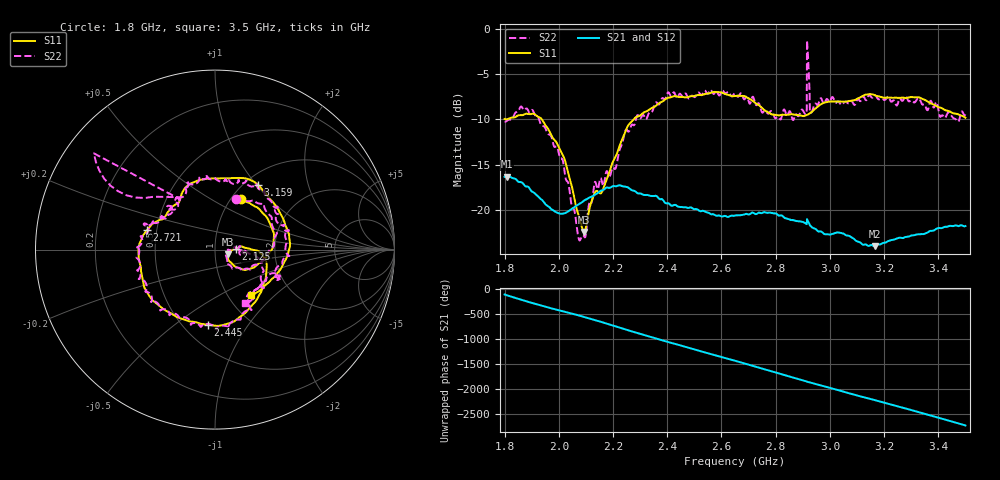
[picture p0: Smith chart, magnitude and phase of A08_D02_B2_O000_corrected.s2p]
! Created with skrf 1.9.0 (http://scikit-rf.org).
# Hz S RI R 50.0
!freq ReS11 ImS11 ReS21 ImS21 ReS12 ImS12 ReS22 ImS22
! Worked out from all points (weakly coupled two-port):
!   1601 points, 1.8 GHz to 3.5 GHz, reference 50 ohm
!   highest |S21| = -16.29 dB at 1.81 GHz (marker M1); lowest = -24.0 dB at 3.165 GHz (marker M2)
!   lowest |S11| = -22.4 dB at 2.092 GHz (marker M3), VSWR 1.16, Z = 57.6 - j2.95 ohm
!   |S11| at or under -10 dB: 1.938 GHz to 2.276 GHz (338 MHz wide, 16 % of centre)
!   |S22| runs from -23.3 to -1.3 dB; largest |S21 - S12| = 0.0026
!   S11 on the Smith chart (normalised r, x): 1.8 GHz: 1.11, +0.70; 2.125 GHz: 1.26, +0.01; 2.445 GHz: 0.66, -0.67; 2.721 GHz: 0.44, +0.11; 3.159 GHz: 1.14, +1.02; 3.5 GHz: 1.27, -0.72
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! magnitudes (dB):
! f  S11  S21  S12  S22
! 1.8 GHz  -9.9  -16.3  -16.3  -10.3
! 1.81 GHz  -10.0  -16.3  -16.3  -10.1
! 1.901 GHz  -9.4  -17.9  -17.9  -8.9
! 1.968 GHz  -11.4  -19.8  -19.8  -11.7
! 2.021 GHz  -14.4  -20.3  -20.3  -15.7
! 2.084 GHz  -21.7  -19.2  -19.1  -23.0
! 2.092 GHz  -22.4  -19.0  -19.0  -22.8
! 2.125 GHz  -18.7  -18.5  -18.4  -18.4
! 2.208 GHz  -14.2  -17.4  -17.3  -15.5
! 2.258 GHz  -10.6  -17.5  -17.5  -11.3
! 2.367 GHz  -8.3  -18.6  -18.6  -8.3
! 2.445 GHz  -7.5  -19.6  -19.6  -7.2
! 2.65 GHz  -7.4  -20.6  -20.6  -7.1
! 2.721 GHz  -8.1  -20.4  -20.3  -7.9
! 2.868 GHz  -9.5  -21.1  -21.1  -9.9
! 2.906 GHz  -9.6  -21.4  -21.3  -9.3
! 2.924 GHz  -9.4  -21.5  -21.5  -6.3
! 2.934 GHz  -9.2  -21.9  -21.8  -9.2
! 3.159 GHz  -7.2  -23.9  -23.8  -7.5
! 3.165 GHz  -7.3  -24.0  -23.9  -7.3
! 3.217 GHz  -7.6  -23.4  -23.3  -7.6
! 3.5 GHz  -9.8  -21.7  -21.7  -9.4
